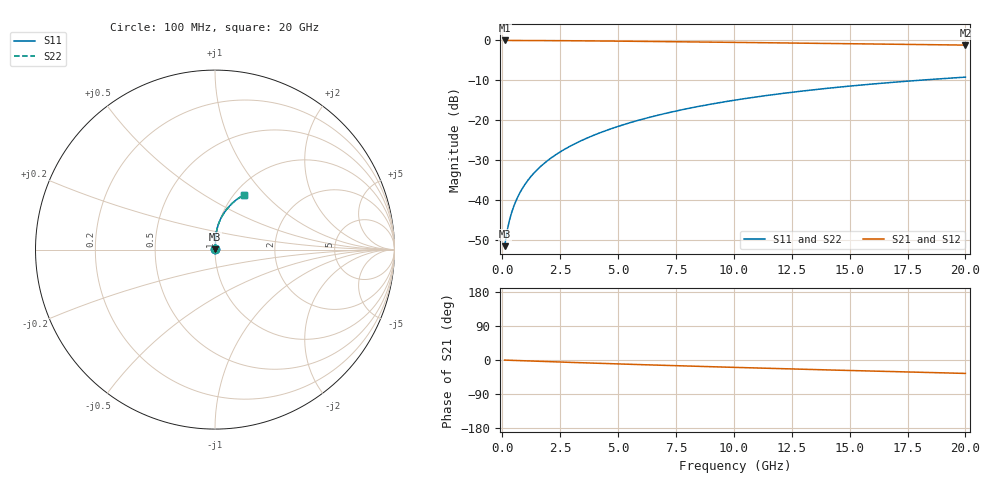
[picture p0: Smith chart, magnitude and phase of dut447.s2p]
! Touchstone file exported from HFSS 2024.1.0
!  File:  C:/UserFiles/LocalFiles/RDL_TSV_Batchsim/temp_RDL_bottom_447_1779684943.aedt
!  Generated:  12:58:08 PM May 25, 2026
!  Design:  RDL_bottom
!  Project:  temp_RDL_bottom_447_1779684943
!  Setup:  Setup1
!  Solution:  Sweep
! Variables:
!  dtsv = 10.80580581um
!  hbump = 3um
!  htsv = 67.96um
!  ldown = 466.53um
!  lrdl = 100um
!  p = 40
!  p1 = 59.57um
!  rhole = 1um
!  t = 450um
!  tdown = 3.76um
!  trdl = 3.915915916um
!  wdown = 24.81um
!  wrdl = 20um
# GHz S MA R 50.000000
! Terminal data exported
! Port[1] = RDL1_T1
! Port[2] = RDL1_T2
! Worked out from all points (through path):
!   200 points, 100 MHz to 20 GHz, reference 50 ohm
!   highest |S21| = -0.02 dB at 100 MHz (marker M1); lowest = -1.2 dB at 20 GHz (marker M2)
!   group delay of S21, straight-line fit = 4.86 ps
!   lowest |S11| = -51.6 dB at 100 MHz (marker M3), VSWR 1.01, Z = 50.2 + j0.172 ohm
!   |S11| at or under -10 dB: start of sweep to 18.03 GHz
!   |S22| runs from -51.6 to -9.2 dB; largest |S21 - S12| = 2.2e-15
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0.1  0.002619 40.8  0.998 -0.2  0.998 -0.2  0.002619 40.8
! Gamma 0 0 0 0
! Port Impedance 50 0 50 0
0.2  0.003951 58.1  0.9979 -0.4  0.9979 -0.4  0.003951 58.1
0.3  0.005395 66.1  0.9977 -0.7  0.9977 -0.7  0.005395 66.1
0.4  0.006861 70.8  0.9976 -0.9  0.9976 -0.9  0.006861 70.8
0.5  0.008341 73.9  0.9974 -1.1  0.9974 -1.1  0.008341 74.0
0.6  0.009836 76.3  0.9973 -1.3  0.9973 -1.3  0.009837 76.3
0.8  0.01286 79.4  0.997 -1.7  0.997 -1.7  0.01287 79.4
1.1  0.01748 82.2  0.9964 -2.4  0.9964 -2.4  0.01748 82.2
1.5  0.02375 84.3  0.9955 -3.2  0.9955 -3.2  0.02375 84.3
1.8  0.02852 85.2  0.9946 -3.9  0.9946 -3.9  0.02852 85.2
2.1  0.03335 85.9  0.9936 -4.5  0.9936 -4.5  0.03335 85.9
2.7  0.0432 86.6  0.9912 -5.8  0.9912 -5.8  0.0432 86.7
3.5  0.05674 87.0  0.9873 -7.4  0.9873 -7.4  0.05674 87.0
4.2  0.06896 86.9  0.9835 -8.8  0.9835 -8.8  0.06897 86.9
5  0.08331 86.4  0.9786 -10.4  0.9786 -10.4  0.08332 86.4
6.8  0.1167 84.4  0.9668 -13.8  0.9668 -13.8  0.1167 84.4
8.4  0.147 82.0  0.9557 -16.6  0.9557 -16.6  0.147 82.0
10.1  0.179 79.1  0.9438 -19.6  0.9438 -19.6  0.1791 79.1
11.7  0.2087 76.3  0.9325 -22.3  0.9325 -22.3  0.2087 76.3
13.4  0.2393 73.3  0.9204 -25.1  0.9204 -25.1  0.2393 73.3
16.7  0.2952 67.5  0.8967 -30.4  0.8967 -30.4  0.2952 67.5
20  0.3459 62.0  0.8726 -35.4  0.8726 -35.4  0.3459 62.0
